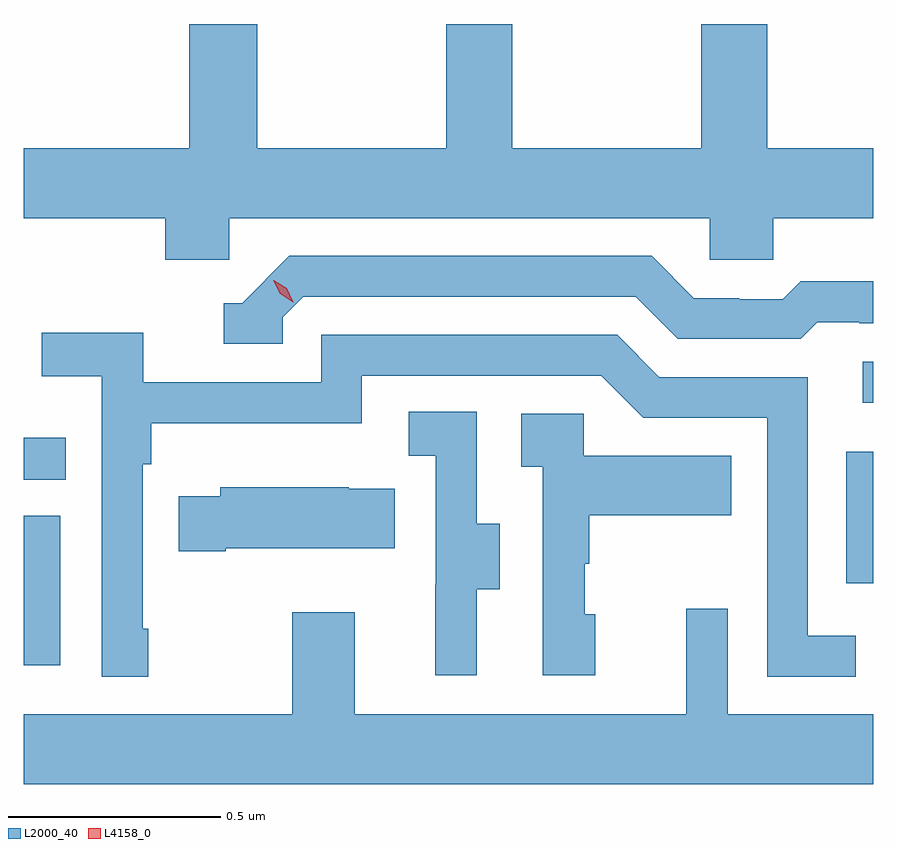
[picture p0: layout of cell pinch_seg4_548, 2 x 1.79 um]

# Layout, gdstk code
import gdstk
lib = gdstk.Library(unit=1e-6, precision=1e-09)
def R(c, l, rs):  # rectangles x0, y0, x1, y1
    for r in rs: c.add(gdstk.rectangle(r[:2], r[2:], *l))
def P(c, l, *ps):  # polygons
    for p in ps: c.add(gdstk.Polygon(p, *l))
L2000_40 = (2000, 40)
L4158_0 = (4158, 0)

pinch_seg4_548 = lib.new_cell('pinch_seg4_548')
R(pinch_seg4_548, L2000_40, [(1142.438,779.784,1142.524,780.135), (1144.374,779.976,1144.438,780.286), (1142.438,780.22,1142.537,780.319), (1144.413,780.402,1144.438,780.498)])
P(pinch_seg4_548, L2000_40, [(1142.922,780.836),(1144.053,780.836),(1144.053,780.738),(1144.203,780.738),(1144.203,780.836),(1144.438,780.836),(1144.438,781),(1144.188,781),(1144.188,781.293),(1144.033,781.293),(1144.033,781),(1143.588,781),(1143.588,781.293),(1143.433,781.293),(1143.433,781),(1142.988,781),(1142.988,781.293),(1142.828,781.293),(1142.828,781),(1142.438,781),(1142.438,780.836),(1142.771,780.836),(1142.771,780.738),(1142.922,780.738)],
  [(1143.048,780.603),(1143.096,780.651),(1143.879,780.651),(1143.978,780.552),(1144.267,780.552),(1144.306,780.591),(1144.405,780.591),(1144.405,780.588),(1144.438,780.588),(1144.438,780.688),(1144.267,780.688),(1144.225,780.645),(1144.122,780.645),(1144.122,780.648),(1144.015,780.648),(1143.916,780.747),(1143.063,780.747),(1142.952,780.636),(1142.909,780.636),(1142.909,780.54),(1143.048,780.54)],
  [(1142.731,779.869),(1142.718,779.869),(1142.718,780.257),(1142.738,780.257),(1142.738,780.353),(1143.234,780.353),(1143.234,780.465),(1143.798,780.465),(1143.897,780.366),(1144.188,780.366),(1144.188,779.757),(1144.397,779.757),(1144.397,779.853),(1144.284,779.853),(1144.284,780.462),(1143.934,780.462),(1143.835,780.561),(1143.138,780.561),(1143.138,780.45),(1142.72,780.45),(1142.72,780.566),(1142.481,780.566),(1142.481,780.464),(1142.622,780.464),(1142.622,779.757),(1142.731,779.757)],
  [(1143.505,779.962),(1143.559,779.962),(1143.559,780.117),(1143.504,780.117),(1143.504,780.38),(1143.345,780.38),(1143.345,780.277),(1143.408,780.277),(1143.408,779.973),(1143.407,779.973),(1143.407,779.76),(1143.505,779.76)],
  [(1143.784,779.904),(1143.759,779.904),(1143.759,780.023),(1143.769,780.023),(1143.769,780.137),(1144.103,780.137),(1144.103,780.277),(1143.756,780.277),(1143.756,780.375),(1143.609,780.375),(1143.609,780.251),(1143.66,780.251),(1143.66,779.76),(1143.784,779.76)],
  [(1142.914,780.059),(1143.311,780.059),(1143.311,780.199),(1143.203,780.199),(1143.203,780.202),(1142.901,780.202),(1142.901,780.181),(1142.803,780.181),(1142.803,780.052),(1142.914,780.052)],
  [(1144.438,779.668),(1144.095,779.668),(1144.095,779.917),(1143.998,779.917),(1143.998,779.668),(1143.217,779.668),(1143.217,779.908),(1143.07,779.908),(1143.07,779.668),(1142.438,779.668),(1142.438,779.504),(1144.438,779.504)])
P(pinch_seg4_548, L4158_0, [(1143.073,780.638),(1143.042,780.658),(1143.026,780.69),(1143.026,780.69),(1143.027,780.69),(1143.057,780.671),(1143.073,780.638),(1143.073,780.638)])

lib.write_gds('pinch_seg4_548.gds')
